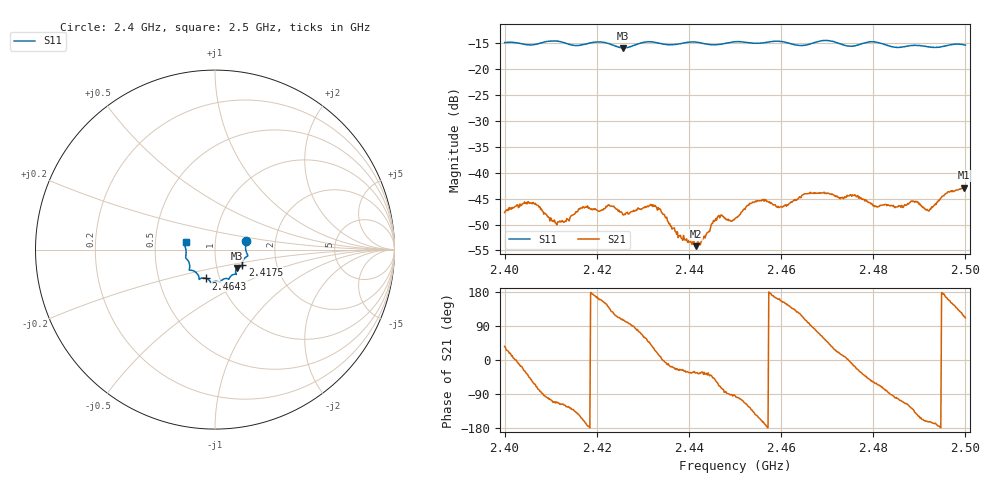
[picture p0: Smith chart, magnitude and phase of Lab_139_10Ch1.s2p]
# Hz S RI R 50
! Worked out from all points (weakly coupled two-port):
!   601 points, 2.4 GHz to 2.5 GHz, reference 50 ohm
!   highest |S21| = -42.87 dB at 2.4997 GHz (marker M1); lowest = -54.2 dB at 2.4415 GHz (marker M2)
!   lowest |S11| = -15.9 dB at 2.4257 GHz (marker M3), VSWR 1.38, Z = 62.5 - j13.1 ohm
!   |S11| at or under -10 dB: start of sweep to end of sweep
!   S12 and S22 are empty: the file has one direction only
!   S11 on the Smith chart (normalised r, x): 2.4 GHz: 1.41, +0.14; 2.4175 GHz: 1.33, -0.23; 2.4643 GHz: 0.86, -0.28; 2.5 GHz: 0.72, +0.06
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2.4e9  0.1729 0.0489  0.00334 0.00242  0 0  0 0
2.406167e9  0.1708 0.000106  0.00264 -0.00445  0 0  0 0
2.4115e9  0.1819 -0.0362  -0.00123 -0.00313  0 0  0 0
2.416667e9  0.1528 -0.0742  -0.00409 -0.00203  0 0  0 0
2.4175e9  0.1517 -0.0836  -0.00454 -0.00115  0 0  0 0
2.423e9  0.1454 -0.0942  -0.00312 0.00361  0 0  0 0
2.425667e9  0.1228 -0.102  -0.001 0.0038  0 0  0 0
2.433333e9  0.1133 -0.1373  0.00444 0.00121  0 0  0 0
2.438167e9  0.082 -0.1553  0.00223 -0.00111  0 0  0 0
2.4415e9  0.0761 -0.1648  0.00161 -0.00111  0 0  0 0
2.446667e9  0.0427 -0.167  0.00135 -0.00342  0 0  0 0
2.45e9  0.0292 -0.1808  -0.000237 -0.0036  0 0  0 0
2.454333e9  0.00787 -0.1767  -0.00417 -0.00316  0 0  0 0
2.46e9  -0.0244 -0.1827  -0.00431 0.00192  0 0  0 0
2.464333e9  -0.0499 -0.1606  -0.00271 0.00508  0 0  0 0
2.466667e9  -0.0756 -0.159  0.000207 0.00635  0 0  0 0
2.483333e9  -0.1409 -0.09  0.000272 -0.00485  0 0  0 0
2.489e9  -0.1629 -0.0451  -0.00385 -0.00346  0 0  0 0
2.492e9  -0.1613 -0.0255  -0.0041 -0.0012  0 0  0 0
2.496e9  -0.1669 0.0192  -0.00611 0.00173  0 0  0 0
2.499667e9  -0.166 0.041  -0.00304 0.00652  0 0  0 0
2.5e9  -0.1641 0.0432  -0.00257 0.00659  0 0  0 0
